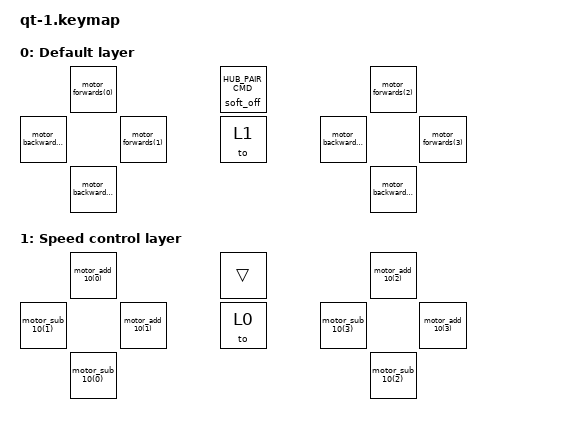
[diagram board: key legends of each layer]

// Copyright (c) 2026 George Norton
// SPDX-License-Identifier: MIT

#include <behaviors.dtsi>
#include <dt-bindings/zmk/keys.h>
#include <input/processors.dtsi>
#include <dt-bindings/zmk/bt.h>
#include <dt-bindings/behavior_ble_lego_hub.h>

/ {
    behaviors {
        hub_control: hub_control {
            compatible = "zmk,behavior-ble-lego-hub";
            #binding-cells = <1>;
            display-name = "Hub Control";
        };
        motor_forwards: motor_forwards {
            compatible = "zmk,behavior-ble-lego-motor-control";
            #binding-cells = <1>;
            speed = <100>;
            display-name = "Motor forwards";
        };
        motor_backwards: motor_backwards {
            compatible = "zmk,behavior-ble-lego-motor-control";
            #binding-cells = <1>;
            speed = <(-100)>;
            display-name = "Motor backwards";
        };
        motor_add_10: motor_add_10 {
            compatible = "zmk,behavior-ble-lego-motor-control";
            #binding-cells = <1>;
            relative;
            speed = <10>;
            display-name = "Motor speed +10%";
        };
        motor_sub_10: motor_sub_10 {
            compatible = "zmk,behavior-ble-lego-motor-control";
            #binding-cells = <1>;
            relative;
            speed = <(-10)>;
            display-name = "Motor speed -10%";
        };
        pair_off: pair_off {
            compatible = "zmk,behavior-hold-tap";
            #binding-cells = <2>;
            flavor = "tap-preferred";
            tapping-term-ms = <1000>;
            bindings = <&soft_off>, <&hub_control>;
            display-name = "Tap to pair, hold to turn off";
        };
    };

    combos {
        compatible = "zmk,combos";
        combo_bootloader {
            timeout-ms = <1000>;
            key-positions = <8 9>;
            bindings = <&bootloader>;
        };
    };
    
    
    keymap {
        compatible = "zmk,keymap";

        default_layer {
            bindings = <
                &motor_forwards(0)   &motor_backwards(1)   &motor_backwards(0)   &motor_forwards(1)  &motor_forwards(2)   &motor_backwards(3)   &motor_backwards(2)   &motor_forwards(3)   &pair_off 0 HUB_PAIR_CMD   &to 1
            >;
            display-name = "Default layer";
        };

        speed_adjust_layer {
            bindings = <
                &motor_add_10(0)   &motor_sub_10(1)   &motor_sub_10(0)   &motor_add_10(1)  &motor_add_10(2)   &motor_sub_10(3)   &motor_sub_10(2)   &motor_add_10(3)   &trans  &to 0
            >;
            display-name = "Speed control layer";
        };
    };
};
